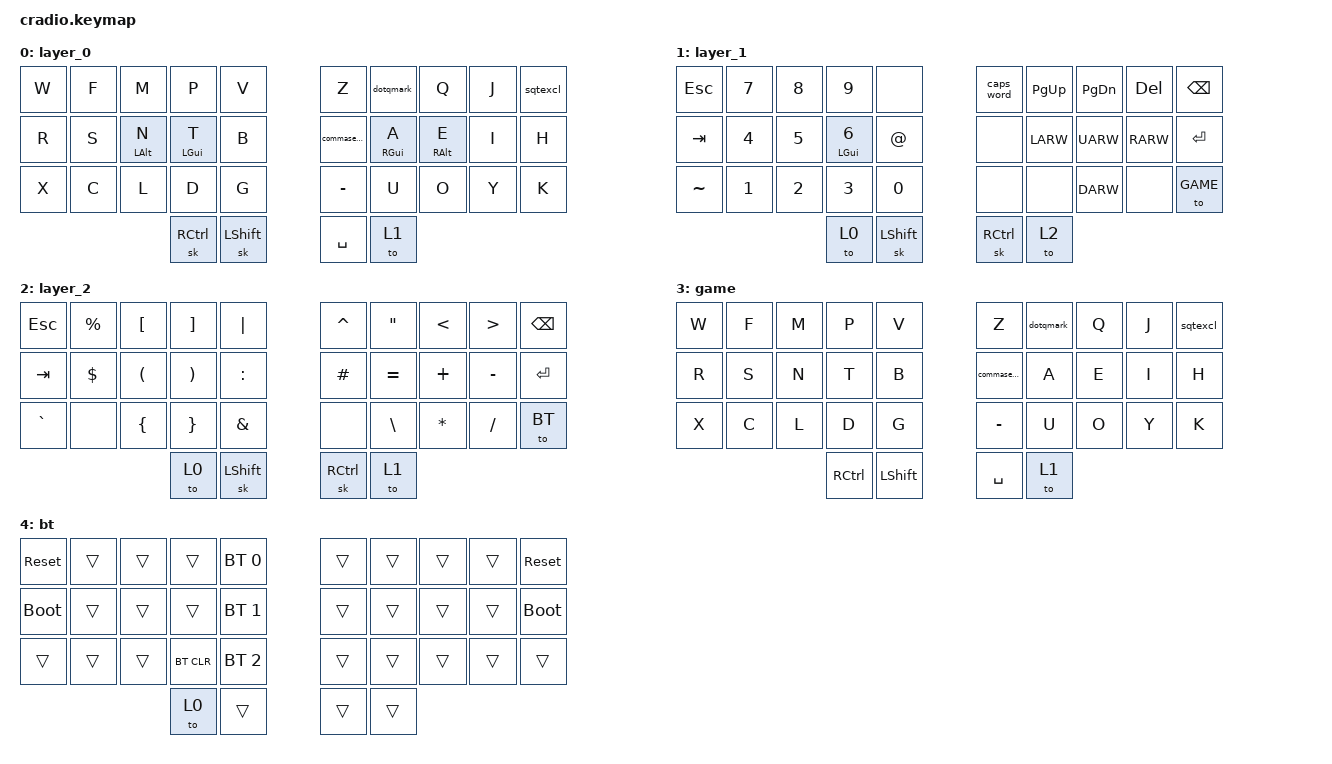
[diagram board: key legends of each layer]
// Copyright (c) 2022 The ZMK Contributors
// SPDX-License-Identifier: MIT

#include <behaviors.dtsi>
#include <dt-bindings/zmk/keys.h>
#include <dt-bindings/zmk/bt.h>

#define GAME 3
#define BT 4

/ {
    behaviors {
        hm: homerow_mods {
            compatible = "zmk,behavior-hold-tap";
            label = "HOMEROW_MODS";
            #binding-cells = <2>;
            tapping-term-ms = <200>;
            quick_tap_ms = <0>;
            flavor = "tap-preferred";
            bindings = <&kp>, <&kp>;
        };
        dotqmark: dot_qmark {
            compatible = "zmk,behavior-mod-morph";
            label = "DOT_QMARK";
            #binding-cells = <0>;
            bindings = <&kp DOT>, <&kp QMARK>;
            mods = <(MOD_LSFT|MOD_RSFT)>;
        };
        sqtexcl: single_quote_excl {
            compatible = "zmk,behavior-mod-morph";
            label = "SINGLE_QUOTE_EXCL";
            #binding-cells = <0>;
            bindings = <&kp SQT>, <&kp EXCL>;
            mods = <(MOD_LSFT|MOD_RSFT)>;
        };
        commasemi: comma_semi {
            compatible = "zmk,behavior-mod-morph";
            label = "COMMA_SEMI";
            #binding-cells = <0>;
            bindings = <&kp COMMA>, <&kp SEMI>;
            mods = <(MOD_LSFT|MOD_RSFT)>;
        };
    };

	keymap {
        compatible = "zmk,keymap";
        layer_0 {
            bindings = <
        //╭──────────┬──────────┬──────────┬──────────┬──────────╮   ╭──────────┬──────────┬──────────┬──────────┬──────────╮
        //│  W       │  F       │  M       │  P       │  V       │   │  Z       │  . ?     │  Q       │  J       │  ' !     │
            &kp W      &kp F      &kp M      &kp P      &kp V          &kp Z     &dotqmark   &kp Q      &kp J      &sqtexcl
        //├──────────┼──────────┼──────────┼──────────┼──────────┤   ├──────────┼──────────┼──────────┼──────────┼──────────┤
        //│  R       │  S       │  N       │  T       │  B       │   │  , ;     │  A       │  E       │  I       │ H        │
            &kp R      &kp S     &hm LALT N &hm LGUI T  &kp B         &commasemi &hm RGUI A &hm RALT E  &kp I      &kp H
        //├──────────┼──────────┼──────────┼──────────┼──────────┤   ├──────────┼──────────┼──────────┼──────────┼──────────┤
        //│  X       │  C       │  L       │  D       │  G       │   │  - _     │  U       │ O        │ Y        │ K        │
            &kp X      &kp C      &kp L      &kp D      &kp G         &kp MINUS   &kp U      &kp O      &kp Y      &kp K
        //╰──────────┴──────────┴──────────┼──────────┼──────────┤   ├──────────┼──────────┼──────────┴──────────┴──────────╯
                                            &sk RCTRL  &sk LSHIFT     &kp SPACE   &to 1
        //                                 ╰──────────┴──────────╯   ╰──────────┴──────────╯
            >;
        };

        layer_1 {
            bindings = <
        //╭──────────┬──────────┬──────────┬──────────┬──────────╮   ╭──────────┬──────────┬──────────┬──────────┬──────────╮
        //│  ESC     │  7       │  8       │  9       │          │   │ CAPS     │ PAGE UP  │ PAGE DN  │ DELETE   │  BKSP    │
            &kp ESC    &kp N7     &kp N8     &kp N9     &none         &caps_word &kp PG_UP  &kp PG_DN   &kp DEL    &kp BKSP
        //├──────────┼──────────┼──────────┼──────────┼──────────┤   ├──────────┼──────────┼──────────┼──────────┼──────────┤
        //│  TAB     │  4       │  5       │  6       │  @       │   │          │  LEFT    │  UP      │  RIGHT   │  ENTER   │
            &kp TAB    &kp N4     &kp N5    &hm LGUI N6  &kp AT        &none      &kp LARW   &kp UARW   &kp RARW   &kp ENTER
        //├──────────┼──────────┼──────────┼──────────┼──────────┤   ├──────────┼──────────┼──────────┼──────────┼──────────┤
        //│  ~       │  1       │  2       │  3       │  0       │   │          │          │  DOWN    │          │          │
            &kp TILDE  &kp N1     &kp N2     &kp N3     &kp N0         &none      &none      &kp DARW   &none      &to GAME
        //╰──────────┴──────────┴──────────┼──────────┼──────────┤   ├──────────┼──────────┼──────────┴──────────┴──────────╯
                                             &to 0     &sk LSHIFT      &sk RCTRL  &to 2
        //                                 ╰──────────┴──────────╯   ╰──────────┴──────────╯
            >;
		};
		
		layer_2 {
		    bindings = <
        //╭──────────┬──────────┬──────────┬──────────┬──────────╮   ╭──────────┬──────────┬──────────┬──────────┬──────────╮
        //│  ESC     │  %       │  [       │  ]       │  |       │   │  ^       │  "       │  <       │  >       │  BKSP    │
            &kp ESC    &kp PRCNT  &kp LBKT   &kp RBKT   &kp PIPE       &kp CARET  &kp DQT    &kp LT     &kp GT     &kp BKSP
        //├──────────┼──────────┼──────────┼──────────┼──────────┤   ├──────────┼──────────┼──────────┼──────────┼──────────┤
        //│  TAB     │  $       │  (       │  )       │  :       │   │  #       │  =       │  +       │  -       │  ENTER   │
            &kp TAB    &kp DLLR   &kp LPAR   &kp RPAR   &kp COLON      &kp POUND  &kp EQUAL  &kp PLUS   &kp MINUS  &kp ENTER
        //├──────────┼──────────┼──────────┼──────────┼──────────┤   ├──────────┼──────────┼──────────┼──────────┼──────────┤
        //│  `       │          │  {       │  }       │  &       │   │          │  \       │  *       │  /       │          │
            &kp GRAVE  &none      &kp LBRC   &kp RBRC   &kp AMPS       &none      &kp BSLH   &kp ASTRK  &kp FSLH   &to BT
        //╰──────────┴──────────┴──────────┼──────────┼──────────┤   ├──────────┼──────────┼──────────┴──────────┴──────────╯
                                             &to 0     &sk LSHIFT      &sk RCTRL  &to 1
        //                                 ╰──────────┴──────────╯   ╰──────────┴──────────╯
            >;
		};

        game {
            bindings = <
        //╭──────────┬──────────┬──────────┬──────────┬──────────╮   ╭──────────┬──────────┬──────────┬──────────┬──────────╮
        //│  W       │  F       │  M       │  P       │  V       │   │  Z       │  . ?     │  Q       │  J       │  ' !     │
            &kp W      &kp F      &kp M      &kp P      &kp V          &kp Z     &dotqmark   &kp Q      &kp J      &sqtexcl
        //├──────────┼──────────┼──────────┼──────────┼──────────┤   ├──────────┼──────────┼──────────┼──────────┼──────────┤
        //│  R       │  S       │  N       │  T       │  B       │   │  , ;     │  A       │  E       │  I       │  H       │
            &kp R      &kp S     &kp N       &kp T      &kp B         &commasemi &kp A       &kp E      &kp I      &kp H
        //├──────────┼──────────┼──────────┼──────────┼──────────┤   ├──────────┼──────────┼──────────┼──────────┼──────────┤
        //│  X       │  C       │  L       │  D       │  G       │   │  - _     │  U       │  O       │  Y       │  K       │
            &kp X      &kp C      &kp L      &kp D      &kp G          &kp MINUS  &kp U      &kp O      &kp Y      &kp K
        //╰──────────┴──────────┴──────────┼──────────┼──────────┤   ├──────────┼──────────┼──────────┴──────────┴──────────╯
                                            &kp RCTRL  &kp LSHIFT     &kp SPACE   &to 1
        //                                 ╰──────────┴──────────╯   ╰──────────┴──────────╯
            >;
        };

		bt {
            bindings = <
        //╭──────────┬──────────┬──────────┬──────────┬──────────╮   ╭──────────┬──────────┬──────────┬──────────┬──────────╮
        //│ RESET    │          │          │          │PROFILE 0 │   │          │          │          │          │  RESET   │
           &sys_reset  &trans     &trans     &trans    &bt BT_SEL 0    &trans     &trans     &trans     &trans    &sys_reset
        //├──────────┼──────────┼──────────┼──────────┼──────────┤   ├──────────┼──────────┼──────────┼──────────┼──────────┤
        //│BOOTLOADER│          │          │          │PROFILE 1 │   │          │          │          │          │BOOTLOADER│
          &bootloader  &trans     &trans     &trans    &bt BT_SEL 1    &trans     &trans     &trans     &trans    &bootloader
        //├──────────┼──────────┼──────────┼──────────┼──────────┤   ├──────────┼──────────┼──────────┼──────────┼──────────┤
        //│          │          │          │ CLEAR BT │PROFILE 2 │   │          │          │          │          │          │
            &trans     &trans     &trans    &bt BT_CLR &bt BT_SEL 2    &trans     &trans     &trans     &trans     &trans
        //╰──────────┴──────────┴──────────┼──────────┼──────────┤   ├──────────┼──────────┼──────────┴──────────┴──────────╯
                                             &to 0      &trans         &trans     &trans
        //                                 ╰──────────┴──────────╯   ╰──────────┴──────────╯
            >;
		};	
        
	};
};
